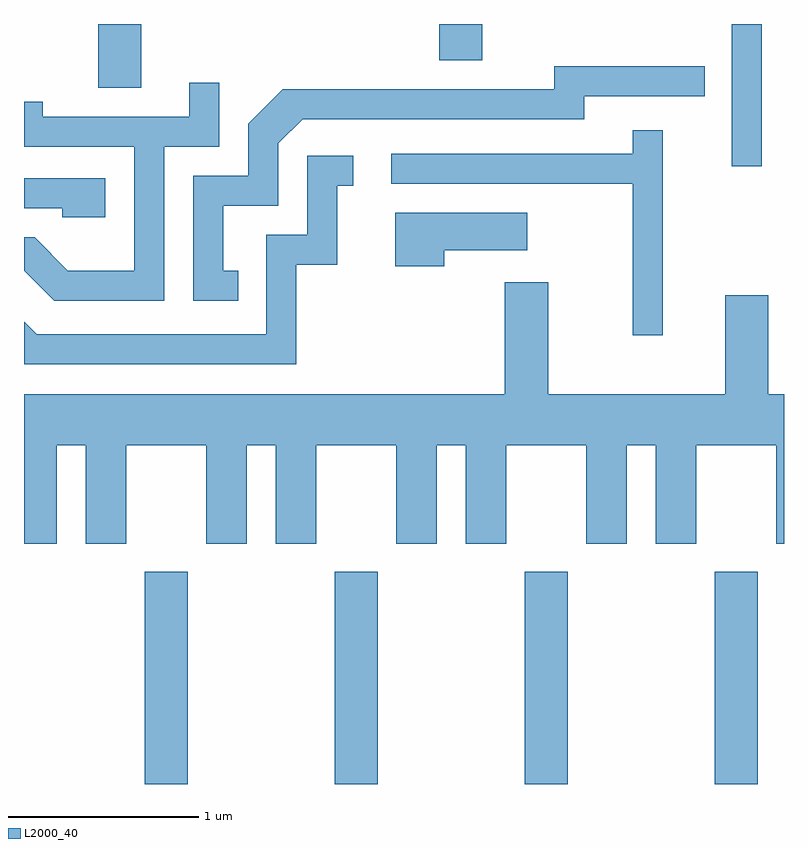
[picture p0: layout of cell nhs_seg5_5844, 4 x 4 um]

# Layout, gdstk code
import gdstk
lib = gdstk.Library(unit=1e-6, precision=1e-09)
def R(c, l, rs):  # rectangles x0, y0, x1, y1
    for r in rs: c.add(gdstk.rectangle(r[:2], r[2:], *l))
def A(c, l, x, y, w, h, nx, ny, dx, dy):  # array of equal rectangles
    R(c, l, [(x+i*dx, y+j*dy, x+i*dx+w, y+j*dy+h) for i in range(nx) for j in range(ny)])
def P(c, l, *ps):  # polygons
    for p in ps: c.add(gdstk.Polygon(p, *l))
L2000_40 = (2000, 40)

nhs_seg5_5844 = lib.new_cell('nhs_seg5_5844')
A(nhs_seg5_5844, L2000_40, 358.246, 1506.072, 0.228, 1.117, 4, 1, 1, 0)
R(nhs_seg5_5844, L2000_40, [(361.336,1509.323,361.494,1510.072), (358.001,1509.736,358.229,1510.072), (359.796,1509.881,360.024,1510.072)])
P(nhs_seg5_5844, L2000_40, [(358.738,1508.774),(358.659,1508.774),(358.659,1509.116),(358.949,1509.116),(358.949,1509.444),(359.077,1509.571),(360.559,1509.571),(360.559,1509.691),(361.193,1509.691),(361.193,1509.849),(360.401,1509.849),(360.401,1509.729),(358.974,1509.729),(358.791,1509.547),(358.791,1509.274),(358.501,1509.274),(358.501,1508.616),(358.738,1508.616)],
  [(358.349,1509.426),(358.639,1509.426),(358.639,1509.763),(358.481,1509.763),(358.481,1509.584),(357.709,1509.584),(357.709,1509.663),(357.611,1509.663),(357.611,1509.426),(358.191,1509.426),(358.191,1508.774),(357.842,1508.774),(357.667,1508.949),(357.611,1508.949),(357.611,1508.774),(357.769,1508.616),(358.349,1508.616)],
  [(360.974,1509.513),(360.816,1509.513),(360.816,1509.389),(359.543,1509.389),(359.543,1509.231),(360.816,1509.231),(360.816,1508.433),(360.974,1508.433)],
  [(359.044,1508.806),(359.259,1508.806),(359.259,1509.221),(359.343,1509.221),(359.343,1509.379),(359.101,1509.379),(359.101,1508.964),(358.886,1508.964),(358.886,1508.439),(357.677,1508.439),(357.611,1508.505),(357.611,1508.281),(359.044,1508.281)],
  [(358.039,1509.259),(357.611,1509.259),(357.611,1509.101),(357.811,1509.101),(357.811,1509.056),(358.039,1509.056)],
  [(359.824,1508.881),(360.259,1508.881),(360.259,1509.079),(359.566,1509.079),(359.566,1508.796),(359.824,1508.796)],
  [(357.784,1507.856),(357.936,1507.856),(357.936,1507.336),(358.149,1507.336),(358.149,1507.856),(358.571,1507.856),(358.571,1507.336),(358.784,1507.336),(358.784,1507.856),(358.936,1507.856),(358.936,1507.336),(359.149,1507.336),(359.149,1507.856),(359.571,1507.856),(359.571,1507.336),(359.784,1507.336),(359.784,1507.856),(359.936,1507.856),(359.936,1507.336),(360.149,1507.336),(360.149,1507.856),(360.571,1507.856),(360.571,1507.336),(360.784,1507.336),(360.784,1507.856),(360.936,1507.856),(360.936,1507.336),(361.149,1507.336),(361.149,1507.856),(361.571,1507.856),(361.571,1507.336),(361.611,1507.336),(361.611,1508.124),(361.529,1508.124),(361.529,1508.644),(361.301,1508.644),(361.301,1508.124),(360.369,1508.124),(360.369,1508.714),(360.141,1508.714),(360.141,1508.124),(357.611,1508.124),(357.611,1507.336),(357.784,1507.336)])

lib.write_gds('nhs_seg5_5844.gds')
